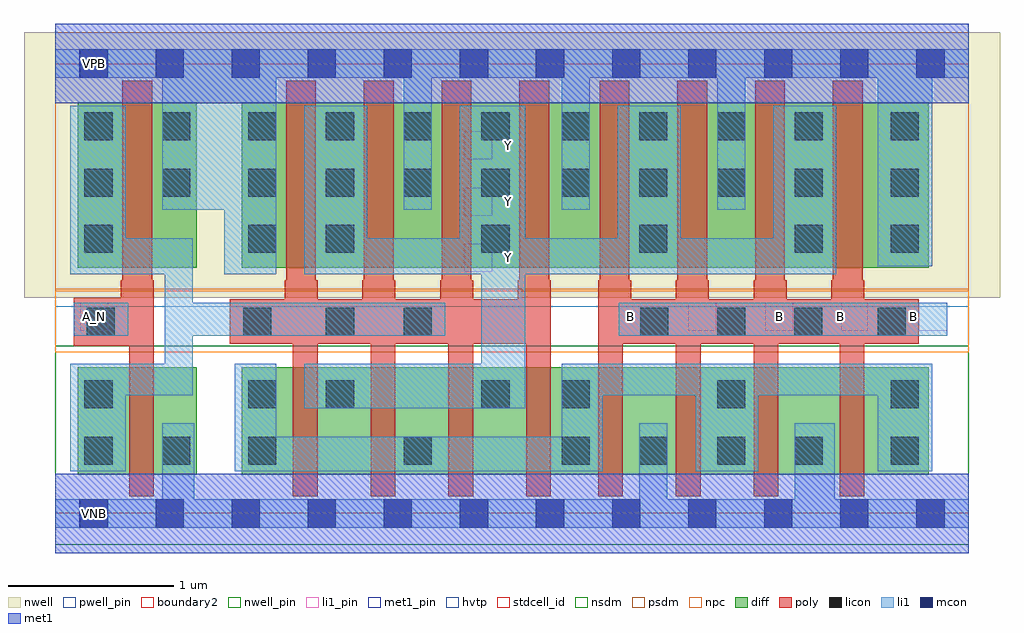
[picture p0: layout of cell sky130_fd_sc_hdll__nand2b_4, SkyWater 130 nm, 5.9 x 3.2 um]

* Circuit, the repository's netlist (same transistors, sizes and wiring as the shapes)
* Copyright 2020 The SkyWater PDK Authors
*
* Licensed under the Apache License, Version 2.0 (the "License");
* you may not use this file except in compliance with the License.
* You may obtain a copy of the License at
*
*     https://www.apache.org/licenses/LICENSE-2.0
*
* Unless required by applicable law or agreed to in writing, software
* distributed under the License is distributed on an "AS IS" BASIS,
* WITHOUT WARRANTIES OR CONDITIONS OF ANY KIND, either express or implied.
* See the License for the specific language governing permissions and
* limitations under the License.
*
* SPDX-License-Identifier: Apache-2.0

.SUBCKT sky130_fd_sc_hdll__nand2b_4 A_N B VGND VNB VPB VPWR Y
*.PININFO A_N:I B:I VGND:I VNB:I VPB:I VPWR:I Y:O
MMP0 Y A VPWR VPB sky130_fd_pr__pfet_01v8_hvt m=4 w=1.0U l=0.18U mult=1 sa=0.265
+ sb=0.265 sd=0.28 area=0.063 perim=1.14
MMP1 Y B VPWR VPB sky130_fd_pr__pfet_01v8_hvt m=4 w=1.0U l=0.18U mult=1 sa=0.265
+ sb=0.265 sd=0.28 area=0.063 perim=1.14
MMIP0 A A_N VPWR VPB sky130_fd_pr__pfet_01v8_hvt m=1 w=1.0U l=0.18U mult=1 sa=0.265
+ sb=0.265 sd=0.28 area=0.063 perim=1.14
MMN0 Y A sndA VNB sky130_fd_pr__nfet_01v8 m=4 w=0.65U l=0.15U mult=1 sa=0.265 sb=0.265
+ sd=0.28 area=0.063 perim=1.14
MMN1 sndA B VGND VNB sky130_fd_pr__nfet_01v8 m=4 w=0.65U l=0.15U mult=1 sa=0.265
+ sb=0.265 sd=0.28 area=0.063 perim=1.14
MMIN0 A A_N VGND VNB sky130_fd_pr__nfet_01v8 m=1 w=0.65U l=0.15U mult=1 sa=0.265
+ sb=0.265 sd=0.28 area=0.063 perim=1.14
.ENDS sky130_fd_sc_hdll__nand2b_4

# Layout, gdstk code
import gdstk
lib = gdstk.Library(unit=1e-6, precision=1e-09)
def R(c, l, rs):  # rectangles x0, y0, x1, y1
    for r in rs: c.add(gdstk.rectangle(r[:2], r[2:], *l))
def A(c, l, x, y, w, h, nx, ny, dx, dy):  # array of equal rectangles
    R(c, l, [(x+i*dx, y+j*dy, x+i*dx+w, y+j*dy+h) for i in range(nx) for j in range(ny)])
def P(c, l, *ps):  # polygons
    for p in ps: c.add(gdstk.Polygon(p, *l))
nwell_pin = (64, 16)
nwell = (64, 20)
diff = (65, 20)
poly = (66, 20)
licon = (66, 44)
li1_pin = (67, 16)
li1 = (67, 20)
mcon = (67, 44)
met1_pin = (68, 16)
met1 = (68, 20)
hvtp = (78, 44)
stdcell_id = (81, 4)
nsdm = (93, 44)
psdm = (94, 20)
npc = (95, 20)
pwell_pin = (122, 16)
boundary2 = (236, 0)

sky130_fd_sc_hdll__nand2 = lib.new_cell('sky130_fd_sc_hdll__nand2b_4')
R(sky130_fd_sc_hdll__nand2, nwell_pin, [(0.15,2.635,0.32,2.805)])
R(sky130_fd_sc_hdll__nand2, nwell, [(-0.19,1.305,5.71,2.91)])
R(sky130_fd_sc_hdll__nand2, diff, [(0.135,0.235,0.855,0.885), (1.125,0.235,5.28,0.885), (0.135,1.485,0.855,2.485), (1.125,1.485,5.28,2.485)])
P(sky130_fd_sc_hdll__nand2, poly, [(0.595,1.41),(0.585,1.41),(0.585,2.615),(0.405,2.615),(0.405,1.41),(0.395,1.41),(0.395,1.305),(0.11,1.305),(0.11,1.015),(0.445,1.015),(0.445,0.105),(0.595,0.105)],
  [(2.995,1.41),(2.985,1.41),(2.985,2.615),(2.805,2.615),(2.805,1.41),(2.795,1.41),(2.795,1.295),(2.525,1.295),(2.525,1.41),(2.515,1.41),(2.515,2.615),(2.335,2.615),(2.335,1.41),(2.325,1.41),(2.325,1.295),(2.055,1.295),(2.055,1.41),(2.045,1.41),(2.045,2.615),(1.865,2.615),(1.865,1.41),(1.855,1.41),(1.855,1.295),(1.585,1.295),(1.585,1.41),(1.575,1.41),(1.575,2.615),(1.395,2.615),(1.395,1.41),(1.385,1.41),(1.385,1.295),(1.055,1.295),(1.055,1.025),(1.435,1.025),(1.435,0.105),(1.585,0.105),(1.585,1.025),(1.905,1.025),(1.905,0.105),(2.055,0.105),(2.055,1.025),(2.375,1.025),(2.375,0.105),(2.525,0.105),(2.525,1.025),(2.845,1.025),(2.845,0.105),(2.995,0.105)],
  [(5.22,1.295),(4.89,1.295),(4.89,1.41),(4.88,1.41),(4.88,2.615),(4.7,2.615),(4.7,1.41),(4.69,1.41),(4.69,1.295),(4.42,1.295),(4.42,1.41),(4.41,1.41),(4.41,2.615),(4.23,2.615),(4.23,1.41),(4.22,1.41),(4.22,1.295),(3.95,1.295),(3.95,1.41),(3.94,1.41),(3.94,2.615),(3.76,2.615),(3.76,1.41),(3.75,1.41),(3.75,1.295),(3.48,1.295),(3.48,1.41),(3.47,1.41),(3.47,2.615),(3.29,2.615),(3.29,1.41),(3.28,1.41),(3.28,0.105),(3.43,0.105),(3.43,1.025),(3.75,1.025),(3.75,0.105),(3.9,0.105),(3.9,1.025),(4.22,1.025),(4.22,0.105),(4.37,0.105),(4.37,1.025),(4.74,1.025),(4.74,0.105),(4.89,0.105),(4.89,1.025),(5.22,1.025)])
A(sky130_fd_sc_hdll__nand2, licon, 3.06, 0.295, 0.17, 0.17, 4, 2, 0.47, 1.62)
A(sky130_fd_sc_hdll__nand2, licon, 3.535, 1.075, 0.17, 0.17, 3, 1, 0.465, 0)
A(sky130_fd_sc_hdll__nand2, licon, 0.175, 1.575, 0.17, 0.17, 1, 3, 0, 0.34)
A(sky130_fd_sc_hdll__nand2, licon, 5.05, 1.575, 0.17, 0.17, 1, 3, 0, 0.34)
A(sky130_fd_sc_hdll__nand2, licon, 1.165, 1.915, 0.17, 0.17, 4, 2, 0.47, 0.34)
A(sky130_fd_sc_hdll__nand2, licon, 3.06, 2.255, 0.17, 0.17, 4, 1, 0.47, 0)
R(sky130_fd_sc_hdll__nand2, licon, [(0.175,0.295,0.345,0.465), (0.645,0.295,0.815,0.465), (1.165,0.295,1.335,0.465), (2.105,0.295,2.275,0.465), (5.05,0.295,5.22,0.465), (0.175,0.635,0.345,0.805), (1.165,0.635,1.335,0.805), (1.635,0.635,1.805,0.805), (2.575,0.635,2.745,0.805), (3.06,0.635,3.23,0.805), (4,0.635,4.17,0.805), (5.05,0.635,5.22,0.805), (0.19,1.075,0.36,1.245), (1.135,1.075,1.305,1.245), (1.635,1.075,1.805,1.245), (2.105,1.075,2.275,1.245), (4.97,1.075,5.14,1.245), (1.165,1.575,1.335,1.745), (1.635,1.575,1.805,1.745), (2.575,1.575,2.745,1.745), (3.53,1.575,3.7,1.745), (4.47,1.575,4.64,1.745), (0.645,1.915,0.815,2.085), (0.645,2.255,0.815,2.425)])
A(sky130_fd_sc_hdll__nand2, li1_pin, 2.47, 1.46, 0.17, 0.17, 1, 3, 0, 0.34)
R(sky130_fd_sc_hdll__nand2, li1_pin, [(0.15,1.105,0.32,1.275), (3.825,1.105,3.995,1.275), (4.29,1.105,4.46,1.275), (4.75,1.105,4.91,1.275), (5.22,1.105,5.39,1.275)])
R(sky130_fd_sc_hdll__nand2, li1, [(0.11,1.075,0.44,1.275), (3.405,1.075,5.39,1.275)])
P(sky130_fd_sc_hdll__nand2, li1, [(5.52,2.805),(0,2.805),(0,2.635),(0.645,2.635),(0.645,1.835),(1.02,1.835),(1.02,1.445),(1.335,1.445),(1.335,2.635),(2.105,2.635),(2.105,1.835),(2.275,1.835),(2.275,2.635),(3.06,2.635),(3.06,1.835),(3.23,1.835),(3.23,2.635),(4,2.635),(4,1.835),(4.17,1.835),(4.17,2.635),(4.97,2.635),(4.97,1.495),(5.3,1.495),(5.3,2.635),(5.52,2.635)],
  [(5.52,0.085),(4.71,0.085),(4.71,0.545),(4.47,0.545),(4.47,0.085),(3.7,0.085),(3.7,0.545),(3.53,0.545),(3.53,0.085),(0.84,0.085),(0.84,0.545),(0.645,0.545),(0.645,0.085),(0,0.085),(0,-0.085),(5.52,-0.085)],
  [(2.355,1.275),(0.83,1.275),(0.83,1.665),(0.425,1.665),(0.425,2.465),(0.09,2.465),(0.09,1.445),(0.66,1.445),(0.66,0.905),(0.09,0.905),(0.09,0.255),(0.425,0.255),(0.425,0.715),(0.83,0.715),(0.83,1.075),(2.355,1.075)],
  [(5.3,0.905),(3.06,0.905),(3.06,0.465),(1.335,0.465),(1.335,0.905),(1.085,0.905),(1.085,0.255),(3.31,0.255),(3.31,0.715),(3.87,0.715),(3.87,0.255),(4.25,0.255),(4.25,0.715),(4.97,0.715),(4.97,0.255),(5.3,0.255)],
  [(4.72,2.465),(4.34,2.465),(4.34,1.665),(3.78,1.665),(3.78,2.465),(3.4,2.465),(3.4,1.665),(2.84,1.665),(2.84,2.465),(2.445,2.465),(2.445,1.665),(1.885,1.665),(1.885,2.465),(1.505,2.465),(1.505,1.445),(2.575,1.445),(2.575,0.905),(1.505,0.905),(1.505,0.635),(2.84,0.635),(2.84,1.445),(4.72,1.445)])
A(sky130_fd_sc_hdll__nand2, mcon, 0.145, -0.085, 0.17, 0.17, 12, 2, 0.46, 2.72)
R(sky130_fd_sc_hdll__nand2, met1_pin, [(0.15,-0.085,0.32,0.085), (0.15,2.635,0.32,2.805)])
R(sky130_fd_sc_hdll__nand2, met1, [(0,-0.24,5.52,0.24), (0,2.48,5.52,2.96)])
R(sky130_fd_sc_hdll__nand2, hvtp, [(0,1.25,5.52,2.72)])
R(sky130_fd_sc_hdll__nand2, stdcell_id, [(0,0,5.52,2.72)])
R(sky130_fd_sc_hdll__nand2, nsdm, [(0,-0.19,5.52,1.015)])
R(sky130_fd_sc_hdll__nand2, psdm, [(0,1.355,5.52,2.91)])
R(sky130_fd_sc_hdll__nand2, npc, [(0,0.975,5.52,1.345)])
R(sky130_fd_sc_hdll__nand2, pwell_pin, [(0.15,-0.085,0.32,0.085)])
R(sky130_fd_sc_hdll__nand2, boundary2, [(0,0,5.52,2.72)])
sky130_fd_sc_hdll__nand2.add(gdstk.Label('B', (5.19,1.19), layer=67, texttype=5))
sky130_fd_sc_hdll__nand2.add(gdstk.Label('B', (4.745,1.19), layer=67, texttype=5))
sky130_fd_sc_hdll__nand2.add(gdstk.Label('B', (4.38,1.19), layer=67, texttype=5))
sky130_fd_sc_hdll__nand2.add(gdstk.Label('B', (3.475,1.19), layer=67, texttype=5))
sky130_fd_sc_hdll__nand2.add(gdstk.Label('A_N', (0.235,1.19), layer=67, texttype=5))
sky130_fd_sc_hdll__nand2.add(gdstk.Label('Y', (2.74,1.545), layer=67, texttype=5))
sky130_fd_sc_hdll__nand2.add(gdstk.Label('Y', (2.74,1.885), layer=67, texttype=5))
sky130_fd_sc_hdll__nand2.add(gdstk.Label('Y', (2.74,2.225), layer=67, texttype=5))
sky130_fd_sc_hdll__nand2.add(gdstk.Label('VNB', (0.235,0), layer=64, texttype=59))
sky130_fd_sc_hdll__nand2.add(gdstk.Label('VPB', (0.235,2.72), layer=64, texttype=5))
sky130_fd_sc_hdll__nand2.add(gdstk.Label('VGND', (0.23,0), layer=68, texttype=5))
sky130_fd_sc_hdll__nand2.add(gdstk.Label('VPWR', (0.235,2.72), layer=68, texttype=5))
sky130_fd_sc_hdll__nand2.add(gdstk.Label('nand2b_4', (0,0), layer=83, texttype=44))

lib.write_gds('sky130_fd_sc_hdll__nand2b_4.gds')
